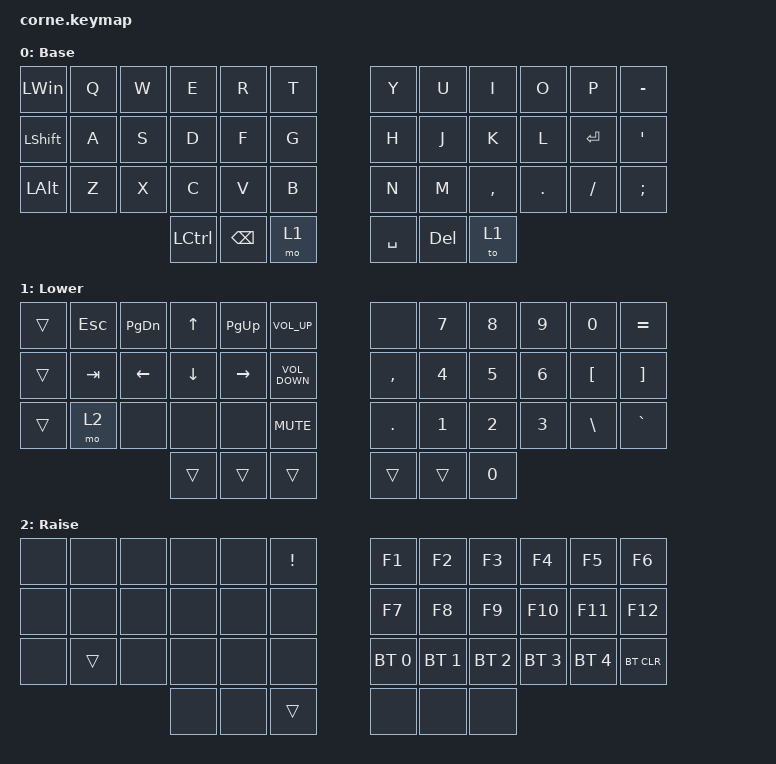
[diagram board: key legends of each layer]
/*
 * Copyright (c) 2020 The ZMK Contributors
 *
 * SPDX-License-Identifier: MIT
 */

#include <behaviors.dtsi>
#include <dt-bindings/zmk/bt.h>
#include <dt-bindings/zmk/keys.h>

/ {
    keymap {
        compatible = "zmk,keymap";

        default_layer {
            // -----------------------------------------------------------------------------------------
            // |  TAB |  Q  |  W  |  E  |  R  |  T  |   |  Y  |  U   |  I  |  O  |  P  | BKSP |
            // | CTRL |  A  |  S  |  D  |  F  |  G  |   |  H  |  J   |  K  |  L  |  ;  |  '   |
            // | SHFT |  Z  |  X  |  C  |  V  |  B  |   |  N  |  M   |  ,  |  .  |  /  | ESC  |
            //                    | GUI | LWR | SPC |   | ENT | RSE  | ALT |

            display-name = "Base";
            bindings = <
&kp LEFT_WIN    &kp Q  &kp W  &kp E             &kp R          &kp T    &kp Y      &kp U       &kp I      &kp O    &kp P     &kp MINUS
&kp LEFT_SHIFT  &kp A  &kp S  &kp D             &kp F          &kp G    &kp H      &kp J       &kp K      &kp L    &kp RET   &kp SQT
&kp LEFT_ALT    &kp Z  &kp X  &kp C             &kp V          &kp B    &kp N      &kp M       &kp COMMA  &kp DOT  &kp FSLH  &kp SEMI
                              &kp LEFT_CONTROL  &kp BACKSPACE  &mo 1    &kp SPACE  &kp DELETE  &to 1
            >;
        };

        lower_layer {
            // -----------------------------------------------------------------------------------------
            // |  TAB |  1  |  2  |  3  |  4  |  5  |   |  6  |  7  |  8  |  9  |  0  | BKSP |
            // | BTCLR| BT1 | BT2 | BT3 | BT4 | BT5 |   | LFT | DWN |  UP | RGT |     |      |
            // | SHFT |     |     |     |     |     |   |     |     |     |     |     |      |
            //                    | GUI |     | SPC |   | ENT |     | ALT |

            display-name = "Lower";
            bindings = <
&trans  &kp ESC  &kp PAGE_DOWN  &kp UP_ARROW  &kp PAGE_UP  &kp C_VOLUME_UP      &none       &kp N7        &kp N8        &kp N9        &kp N0         &kp EQUAL
&trans  &kp TAB  &kp LEFT       &kp DOWN      &kp RIGHT    &kp C_VOLUME_DOWN    &kp COMMA   &kp NUMBER_4  &kp N5        &kp NUMBER_6  &kp LBKT       &kp RBKT
&trans  &mo 2    &none          &none         &none        &kp K_MUTE           &kp PERIOD  &kp NUMBER_1  &kp NUMBER_2  &kp NUMBER_3  &kp BACKSLASH  &kp GRAVE
                                &trans        &trans       &trans               &trans      &trans        &kp NUMBER_0
            >;
        };

        raise_layer {
            // -----------------------------------------------------------------------------------------
            // |  TAB |  !  |  @  |  #  |  $  |  %  |   |  ^  |  &  |  *  |  (  |  )  | BKSP |
            // | CTRL |     |     |     |     |     |   |  -  |  =  |  [  |  ]  |  \  |  `   |
            // | SHFT |     |     |     |     |     |   |  _  |  +  |  {  |  }  | "|" |  ~   |
            //                    | GUI |     | SPC |   | ENT |     | ALT |

            display-name = "Raise";
            bindings = <
&none  &none   &none  &none  &none  &kp EXCL    &kp F1        &kp F2        &kp F3        &kp F4        &kp F5        &kp F6
&none  &none   &none  &none  &none  &none       &kp F7        &kp F8        &kp F9        &kp F10       &kp F11       &kp F12
&none  &trans  &none  &none  &none  &none       &bt BT_SEL 0  &bt BT_SEL 1  &bt BT_SEL 2  &bt BT_SEL 3  &bt BT_SEL 4  &bt BT_CLR
                      &none  &none  &trans      &none         &none         &none
            >;
        };

        extra_1 { status = "reserved"; };

        extra_2 { status = "reserved"; };

        extra_3 { status = "reserved"; };
    };
};
